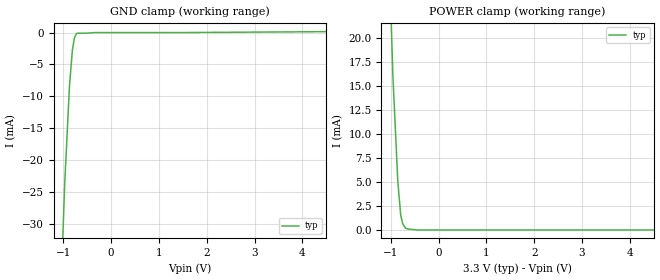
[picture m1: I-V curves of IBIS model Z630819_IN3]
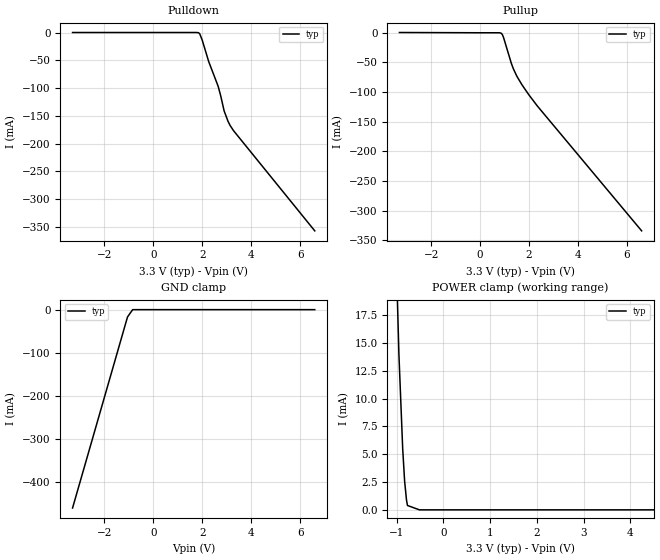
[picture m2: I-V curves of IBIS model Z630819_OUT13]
| YOU ARE ONLY AUTHORIZED TO USE THIS SOFTWARE
| ACCORDING TO LICENSOR'S LICENSE RESTRICTIONS.
[IBIS Ver] 3.1
[File Name] nb100lvep56dt_33.ibs
[File Rev] 1.0
[Source] Derived from mc100lvep210fa_33.ibs
|   Measured and created by ICX Technology
[Date] Monday 12/10/2002
[Copyright]
| (C) COPYRIGHT 1993-2000
| MENTOR GRAPHICS CORPORATION
| ICX STANDARD LIBRARY, ICX PROJECT MODELING,
| ICX CUSTOM MODELING, ICX VENDOR MODEL
| ALL RIGHTS RESERVED.
| THE FOLLOWING ARE TRADEMARKS OR SERVICE MARKS OF
| MENTOR GRAPHICS CORPORATION:ICX (R), ICX STANDARD
| LIBRARY(R), ICX PROJECT MODELING(R), ICX CUSTOM
| MODELING(R), qualityIBIS(TM), MODELVIEWER(TM),
| AND MODELEDITOR(TM)
| ALL COPIES OF SOFTWARE, INCLUDING BUT NOT LIMITED TO
| ANY MODIFICATIONS, ENHANCEMENTS OR DERIVATIVE WORKS,
| MUST CONTAIN ALL MENTOR GRAPHICS CORPORATION'S
| NOTICES AND LEGENDS, INCLUDING THOSE EMBEDDED IN
| SOFTWARE AND THOSE AFFIXED TO SOFTWARE MEDIUM
| AND CONTAINER, AS RECEIVED FROM MENTOR GRAPHICS
| CORPORATION.
|  ZAP Model Builder 2.8
[Component] NB100LVEP56DT_33
[Manufacturer] ON
[Package]
| variable   typ   min   max
R_pkg  .18ohms NA NA
L_pkg  4.22nH NA NA
C_pkg  .41pF NA NA
[Pin] signal_name  model_name  R_pin  L_pin C_pin
1  D0a Z630819_IN3  .068 4.288n 1.027p
2  _D0a Z630819_IN3  .068 4.288n 1.027p
3  VEE POWER .194 5.16n .43p
4  D0b Z630819_IN3  .068 4.288n 1.027p
5  _D0b Z630819_IN3  .068 4.288n 1.027p
6  D1a Z630819_IN3  .068 4.288n 1.027p
7  _D1a Z630819_IN3  .068 4.288n 1.027p
8  VEE POWER .194 5.16n .43p
9  D1b Z630819_IN3  .068 4.288n 1.027p
10 _D1b Z630819_IN3  .068 4.288n 1.027p
11 VBB POWER .069 4.455n 1.077p
12 _Q1 Z630819_OUT13 .068 4.288n 1.027p
13 Q1 Z630819_OUT13 .068 4.288n 1.027p
14 VCC POWER .194 5.16n .43p
15 SEL1 Z630819_IN3  .068 4.288n 1.027p
16 COM_SEL Z630819_IN3  .068 4.288n 1.027p
17 SEL0 Z630819_IN3  .068 4.288n 1.027p
18 _Q0 Z630819_OUT13 .068 4.288n 1.027p
19 Q0 Z630819_OUT13 .068 4.288n 1.027p
20  VCC POWER .194 5.16n .43p
[Diff Pin] inv_pin vdiff tdelay_typ tdelay_min tdelay_max
1 2 150mv NA NA NA
4 5 150mv NA NA NA
6 7 150mv NA NA NA
9 10 150mv NA NA NA
13 12 NA .525ns .400ns .650ns
19 18 NA .525ns .400ns .650ns
| Models and submodels in the file (2): Z630819_IN3 (Input_ECL), Z630819_OUT13 (Output_ECL)
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| (C) COPYRIGHT 1993-2000
| MENTOR GRAPHICS CORPORATION
| ICX STANDARD LIBRARY, ICX PROJECT MODELING,
| ICX CUSTOM MODELING, ICX VENDOR MODEL
| ALL RIGHTS RESERVED.
| THE FOLLOWING ARE TRADEMARKS OR SERVICE MARKS OF
| MENTOR GRAPHICS CORPORATION:ICX (R), ICX STANDARD
| LIBRARY(R), ICX PROJECT MODELING(R), ICX CUSTOM
| MODELING(R), qualityIBIS(TM), MODELVIEWER(TM),
| AND MODELEDITOR(TM)
| ALL COPIES OF SOFTWARE, INCLUDING BUT NOT LIMITED TO
| ANY MODIFICATIONS, ENHANCEMENTS OR DERIVATIVE WORKS,
| MUST CONTAIN ALL MENTOR GRAPHICS CORPORATION'S
| NOTICES AND LEGENDS, INCLUDING THOSE EMBEDDED IN
| SOFTWARE AND THOSE AFFIXED TO SOFTWARE MEDIUM
| AND CONTAINER, AS RECEIVED FROM MENTOR GRAPHICS
| CORPORATION.
| Model Application Version 1.89 2/18/99.
[Model] Z630819_IN3
Model_type Input_ECL
Vinl = 1.675V
Vinh = 2.135V
C_comp 1.500pF NA NA
| variable typ   min   max
[Voltage Range] 3.300V NA NA
[GND Clamp Reference] 0.000V NA NA
[POWER Clamp Reference] 3.300V NA NA
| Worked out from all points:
|   GND clamp passes 1 mA (typ) near -0.77 V on its own axis
|   POWER clamp passes 1 mA (typ) near -0.77 V on its own axis
[GND Clamp]
-3.3V     -625.8mA   NA         NA
-1.095V   -49.9mA    NA         NA
-973mV    -23.8mA    NA         NA
-872mV    -8.3mA     NA         NA
-811mV    -2.7mA     NA         NA
-770mV    -900uA     NA         NA
-750mV    -500uA     NA         NA
-719.8mV  -100uA     NA         NA
-532.3mV  -100uA     NA         NA
-344.8mV  0A         NA         NA
1.449V    0A         NA         NA
6.6V      243.2uA    NA         NA
[POWER Clamp]
-3.3V     386.1mA    NA         NA
-957mV    15.97mA    NA         NA
-855mV    5.072mA    NA         NA
-795mV    1.575mA    NA         NA
-754mV    677uA      NA         NA
-693mV    179.9uA    NA         NA
-632mV    82.77uA    NA         NA
-421.3mV  0A         NA         NA
6.6V      0A         NA         NA
| (C) COPYRIGHT 1993-2000
| MENTOR GRAPHICS CORPORATION
| ICX STANDARD LIBRARY, ICX PROJECT MODELING,
| ICX CUSTOM MODELING, ICX VENDOR MODEL
| ALL RIGHTS RESERVED.
| THE FOLLOWING ARE TRADEMARKS OR SERVICE MARKS OF
| MENTOR GRAPHICS CORPORATION:ICX (R), ICX STANDARD
| LIBRARY(R), ICX PROJECT MODELING(R), ICX CUSTOM
| MODELING(R), qualityIBIS(TM), MODELVIEWER(TM),
| AND MODELEDITOR(TM)
| ALL COPIES OF SOFTWARE, INCLUDING BUT NOT LIMITED TO
| ANY MODIFICATIONS, ENHANCEMENTS OR DERIVATIVE WORKS,
| MUST CONTAIN ALL MENTOR GRAPHICS CORPORATION'S
| NOTICES AND LEGENDS, INCLUDING THOSE EMBEDDED IN
| SOFTWARE AND THOSE AFFIXED TO SOFTWARE MEDIUM
| AND CONTAINER, AS RECEIVED FROM MENTOR GRAPHICS
| CORPORATION.
| Model Application Version 1.89 2/18/99.
[Model] Z630819_OUT13
Model_type Output_ECL
Vref=0.500V
Rref=50.00ohms
Cref=0.000F
Vmeas=1.905V
C_comp 1.500pF NA NA
| variable typ   min   max
[Voltage Range] 3.300V NA NA
[POWER Clamp Reference] 3.300V NA NA
[Pullup Reference] 3.300V NA NA
[Pulldown Reference] 3.300V NA NA
[GND Clamp Reference] 0.000V NA NA
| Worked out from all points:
|   GND clamp passes 1 mA (typ) near -0.86 V on its own axis
|   POWER clamp passes 1 mA (typ) near -0.79 V on its own axis
[GND Clamp]
-3.3V     -459.2mA   NA         NA
-1.054V   -16.96mA   NA         NA
-843.2mV  0A         NA         NA
6.6V      0A         NA         NA
[Pulldown]
-3.3V     0A         NA         NA
1.861V    -800uA     NA         NA
1.901V    -2.6mA     NA         NA
2.003V    -14.2mA    NA         NA
2.266V    -52.5mA    NA         NA
2.651V    -96.8mA    NA         NA
2.753V    -113.5mA   NA         NA
2.895V    -141.1mA   NA         NA
3.057V    -160.1mA   NA         NA
3.138V    -167.2mA   NA         NA
3.28V     -176.7mA   NA         NA
6.6V      -357mA     NA         NA
[Pullup]
-3.3V     450.5uA    NA         NA
771mV     0A         NA         NA
873mV     -1.2mA     NA         NA
954mV     -7.8mA     NA         NA
1.278V    -52.1mA    NA         NA
1.359V    -60.9mA    NA         NA
1.501V    -73.4mA    NA         NA
1.704V    -87.4mA    NA         NA
1.987V    -104.4mA   NA         NA
2.332V    -123.2mA   NA         NA
6.6V      -333.9mA   NA         NA
[POWER Clamp]
-3.3V     370.2mA    NA         NA
-952mV    13.97mA    NA         NA
-871mV    5.478mA    NA         NA
-830mV    2.584mA    NA         NA
-790mV    888.9uA    NA         NA
-769mV    391.8uA    NA         NA
-512.7mV  0A         NA         NA
6.6V      0A         NA         NA
[Ramp]
| variable typ min max
dV/dt_r 477.9m/160.7p NA NA
dV/dt_f 477.9m/180.6p NA NA
R_load = 50.00Ohms
